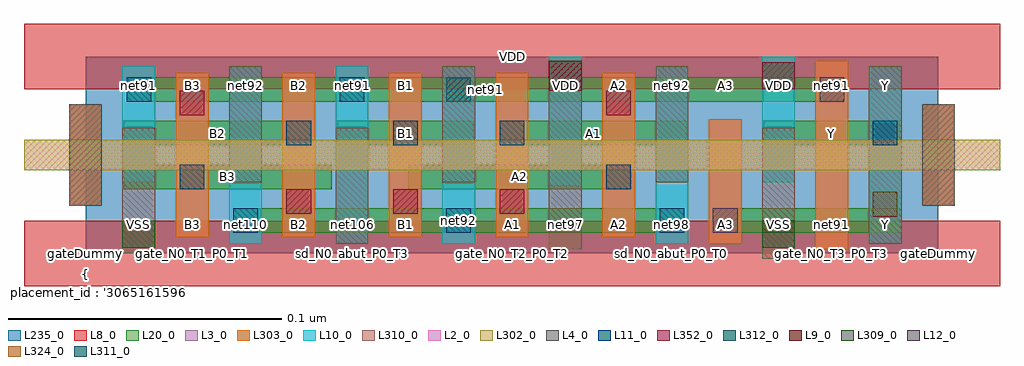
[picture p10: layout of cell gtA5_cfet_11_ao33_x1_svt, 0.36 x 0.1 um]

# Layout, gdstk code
import gdstk
lib = gdstk.Library(unit=1e-6, precision=2.5e-10)
def R(c, l, rs):  # rectangles x0, y0, x1, y1
    for r in rs: c.add(gdstk.rectangle(r[:2], r[2:], *l))
def A(c, l, x, y, w, h, nx, ny, dx, dy):  # array of equal rectangles
    R(c, l, [(x+i*dx, y+j*dy, x+i*dx+w, y+j*dy+h) for i in range(nx) for j in range(ny)])
L2_0 = (2, 0)
L3_0 = (3, 0)
L4_0 = (4, 0)
L8_0 = (8, 0)
L9_0 = (9, 0)
L10_0 = (10, 0)
L11_0 = (11, 0)
L12_0 = (12, 0)
L20_0 = (20, 0)
L235_0 = (235, 0)
L302_0 = (302, 0)
L303_0 = (303, 0)
L309_0 = (309, 0)
L310_0 = (310, 0)
L311_0 = (311, 0)
L312_0 = (312, 0)
L324_0 = (324, 0)
L352_0 = (352, 0)

gta5_cfet_11_ao33_x1_svt = lib.new_cell('gtA5_cfet_11_ao33_x1_svt')
R(gta5_cfet_11_ao33_x1_svt, L2_0, [(-0.0225,0.0305,0.3345,0.0415)])
A(gta5_cfet_11_ao33_x1_svt, L3_0, 0.033, 0.006, 0.012, 0.06, 5, 1, 0.039, 0)
R(gta5_cfet_11_ao33_x1_svt, L3_0, [(0.267,0.0015,0.279,0.0705), (0.228,0.0035,0.24,0.049), (-0.006,0.0175,0.006,0.0545), (0.306,0.0175,0.318,0.0545)])
R(gta5_cfet_11_ao33_x1_svt, L4_0, [(-0.006,0.0175,0.006,0.0545), (0.306,0.0175,0.318,0.0545)])
R(gta5_cfet_11_ao33_x1_svt, L8_0, [(-0.0225,-0.012,0.3345,0.012), (-0.0225,0.06,0.3345,0.084)])
R(gta5_cfet_11_ao33_x1_svt, L9_0, [(0.1695,0.0595,0.1815,0.0705), (0.2475,0.06,0.2595,0.07)])
A(gta5_cfet_11_ao33_x1_svt, L10_0, 0.0525, 0.0035, 0.012, 0.065, 3, 1, 0.039, 0)
R(gta5_cfet_11_ao33_x1_svt, L10_0, [(0.2085,0.0035,0.2205,0.0685), (0.2865,0.0035,0.2985,0.0685), (0.1695,0.0245,0.1815,0.072), (0.0135,0.026,0.0255,0.0685), (0.2475,0.026,0.2595,0.072)])
A(gta5_cfet_11_ao33_x1_svt, L11_0, 0.054, 0.0075, 0.009, 0.009, 3, 1, 0.078, 0)
R(gta5_cfet_11_ao33_x1_svt, L11_0, [(0.288,0.0395,0.297,0.0485), (0.015,0.0555,0.024,0.0645), (0.093,0.0555,0.102,0.0645)])
R(gta5_cfet_11_ao33_x1_svt, L12_0, [(0.2295,0.0075,0.2385,0.0165), (0.2685,0.0555,0.2775,0.0645)])
R(gta5_cfet_11_ao33_x1_svt, L20_0, [(0.054,0.0075,0.219,0.0165), (0.2295,0.0075,0.298,0.0165), (0.014,0.0235,0.09,0.0325), (0.118,0.0235,0.1995,0.0325), (0.014,0.0395,0.0825,0.0485), (0.092,0.0395,0.142,0.0485), (0.1515,0.0395,0.22,0.0485), (0.248,0.0395,0.298,0.0485), (0.015,0.0555,0.2775,0.0645)])
R(gta5_cfet_11_ao33_x1_svt, L235_0, [(0,0,0.312,0.072)])
R(gta5_cfet_11_ao33_x1_svt, L302_0, [(-0.0225,0.0305,0.3345,0.0415)])
A(gta5_cfet_11_ao33_x1_svt, L303_0, 0.033, 0.006, 0.012, 0.06, 5, 1, 0.039, 0)
R(gta5_cfet_11_ao33_x1_svt, L303_0, [(0.267,0.0015,0.279,0.0705), (0.228,0.0035,0.24,0.049), (-0.006,0.0175,0.006,0.0545), (0.306,0.0175,0.318,0.0545)])
R(gta5_cfet_11_ao33_x1_svt, L309_0, [(0.0135,0.002,0.0255,0.012), (0.2475,0.002,0.2595,0.012)])
A(gta5_cfet_11_ao33_x1_svt, L310_0, 0.0525, 0.026, 0.012, 0.0425, 3, 1, 0.078, 0)
R(gta5_cfet_11_ao33_x1_svt, L310_0, [(0.2475,-0.002,0.2595,0.046), (0.0135,0,0.0255,0.046), (0.1695,0.0015,0.1815,0.0705), (0.0915,0.0035,0.1035,0.046), (0.2865,0.0035,0.2985,0.0685)])
R(gta5_cfet_11_ao33_x1_svt, L311_0, [(0.132,0.0555,0.141,0.0645)])
A(gta5_cfet_11_ao33_x1_svt, L312_0, 0.0735, 0.0395, 0.009, 0.009, 3, 1, 0.039, 0)
R(gta5_cfet_11_ao33_x1_svt, L312_0, [(0.0345,0.0235,0.0435,0.0325), (0.1905,0.0235,0.1995,0.0325)])
R(gta5_cfet_11_ao33_x1_svt, L324_0, [(0.288,0.0135,0.297,0.0225)])
A(gta5_cfet_11_ao33_x1_svt, L352_0, 0.0735, 0.0145, 0.009, 0.009, 3, 1, 0.039, 0)
R(gta5_cfet_11_ao33_x1_svt, L352_0, [(0.0345,0.0505,0.0435,0.0595), (0.1905,0.0505,0.1995,0.0595)])
gta5_cfet_11_ao33_x1_svt.add(gdstk.Label('net92', (0.1365,0.012), layer=100, texttype=100))
gta5_cfet_11_ao33_x1_svt.add(gdstk.Label('net91', (0.1462,0.06), layer=100, texttype=100))
gta5_cfet_11_ao33_x1_svt.add(gdstk.Label('gateDummy', (0,0), layer=103, texttype=103))
gta5_cfet_11_ao33_x1_svt.add(gdstk.Label('sd_N0_VSS_P0_T3', (0.0195,0), layer=103, texttype=103))
gta5_cfet_11_ao33_x1_svt.add(gdstk.Label('gate_N0_T1_P0_T1', (0.039,0), layer=103, texttype=103))
gta5_cfet_11_ao33_x1_svt.add(gdstk.Label('sd_N0_abut_P0_T0', (0.0585,0), layer=103, texttype=103))
gta5_cfet_11_ao33_x1_svt.add(gdstk.Label('gate_N0_T2_P0_T2', (0.078,0), layer=103, texttype=103))
gta5_cfet_11_ao33_x1_svt.add(gdstk.Label('sd_N0_abut_P0_T3', (0.0975,0), layer=103, texttype=103))
gta5_cfet_11_ao33_x1_svt.add(gdstk.Label('gate_N0_T2_P0_T2', (0.117,0), layer=103, texttype=103))
gta5_cfet_11_ao33_x1_svt.add(gdstk.Label('sd_N0_T3_P0_T0', (0.1365,0), layer=103, texttype=103))
gta5_cfet_11_ao33_x1_svt.add(gdstk.Label('gate_N0_T2_P0_T2', (0.156,0), layer=103, texttype=103))
gta5_cfet_11_ao33_x1_svt.add(gdstk.Label('sd_P0_VDD', (0.1755,0), layer=103, texttype=103))
gta5_cfet_11_ao33_x1_svt.add(gdstk.Label('gate_N0_T1_P0_T1', (0.195,0), layer=103, texttype=103))
gta5_cfet_11_ao33_x1_svt.add(gdstk.Label('sd_N0_abut_P0_T0', (0.2145,0), layer=103, texttype=103))
gta5_cfet_11_ao33_x1_svt.add(gdstk.Label('gate_N0_T0_P0_T0', (0.234,0), layer=103, texttype=103))
gta5_cfet_11_ao33_x1_svt.add(gdstk.Label('sd_N0_VSS_P0_VDD', (0.2535,0), layer=103, texttype=103))
gta5_cfet_11_ao33_x1_svt.add(gdstk.Label('gate_N0_T3_P0_T3', (0.273,0), layer=103, texttype=103))
gta5_cfet_11_ao33_x1_svt.add(gdstk.Label('sd_N0_T2_P0_T2', (0.2925,0), layer=103, texttype=103))
gta5_cfet_11_ao33_x1_svt.add(gdstk.Label('gateDummy', (0.312,0), layer=103, texttype=103))
gta5_cfet_11_ao33_x1_svt.add(gdstk.Label('}', (0,-0.0785), layer=104, texttype=104))
gta5_cfet_11_ao33_x1_svt.add(gdstk.Label('  power : None', (0,-0.0713), layer=104, texttype=104))
gta5_cfet_11_ao33_x1_svt.add(gdstk.Label('  performance : None', (0,-0.0643), layer=104, texttype=104))
gta5_cfet_11_ao33_x1_svt.add(gdstk.Label("  solution_hash : '9798675518946927685'", (0,-0.057), layer=104, texttype=104))
gta5_cfet_11_ao33_x1_svt.add(gdstk.Label('  number_m2 : 0', (0,-0.05), layer=104, texttype=104))
gta5_cfet_11_ao33_x1_svt.add(gdstk.Label('  number_m1 : 0', (0,-0.0428), layer=104, texttype=104))
gta5_cfet_11_ao33_x1_svt.add(gdstk.Label('  number_m0cuts : 0', (0,-0.0358), layer=104, texttype=104))
gta5_cfet_11_ao33_x1_svt.add(gdstk.Label('  number_m0 : 9', (0,-0.0285), layer=104, texttype=104))
gta5_cfet_11_ao33_x1_svt.add(gdstk.Label("  solution_number : '0000'", (0,-0.0215), layer=104, texttype=104))
gta5_cfet_11_ao33_x1_svt.add(gdstk.Label("  placement_id : '3065161596081306661'", (0,-0.0143), layer=104, texttype=104))
gta5_cfet_11_ao33_x1_svt.add(gdstk.Label('{', (0,-0.0073), layer=104, texttype=104))
gta5_cfet_11_ao33_x1_svt.add(gdstk.Label('VSS', (0.0195,0.0108), layer=105, texttype=105))
gta5_cfet_11_ao33_x1_svt.add(gdstk.Label('B3', (0.039,0.0108), layer=105, texttype=105))
gta5_cfet_11_ao33_x1_svt.add(gdstk.Label('net110', (0.0585,0.0108), layer=105, texttype=105))
gta5_cfet_11_ao33_x1_svt.add(gdstk.Label('B2', (0.078,0.0108), layer=105, texttype=105))
gta5_cfet_11_ao33_x1_svt.add(gdstk.Label('net106', (0.0975,0.0108), layer=105, texttype=105))
gta5_cfet_11_ao33_x1_svt.add(gdstk.Label('B1', (0.117,0.0108), layer=105, texttype=105))
gta5_cfet_11_ao33_x1_svt.add(gdstk.Label('net91', (0.1365,0.0108), layer=105, texttype=105))
gta5_cfet_11_ao33_x1_svt.add(gdstk.Label('A1', (0.156,0.0108), layer=105, texttype=105))
gta5_cfet_11_ao33_x1_svt.add(gdstk.Label('net97', (0.1755,0.0108), layer=105, texttype=105))
gta5_cfet_11_ao33_x1_svt.add(gdstk.Label('A2', (0.195,0.0108), layer=105, texttype=105))
gta5_cfet_11_ao33_x1_svt.add(gdstk.Label('net98', (0.2145,0.0108), layer=105, texttype=105))
gta5_cfet_11_ao33_x1_svt.add(gdstk.Label('A3', (0.234,0.0108), layer=105, texttype=105))
gta5_cfet_11_ao33_x1_svt.add(gdstk.Label('VSS', (0.2535,0.0108), layer=105, texttype=105))
gta5_cfet_11_ao33_x1_svt.add(gdstk.Label('net91', (0.273,0.0108), layer=105, texttype=105))
gta5_cfet_11_ao33_x1_svt.add(gdstk.Label('Y', (0.2925,0.0108), layer=105, texttype=105))
gta5_cfet_11_ao33_x1_svt.add(gdstk.Label('net91', (0.0195,0.0612), layer=105, texttype=105))
gta5_cfet_11_ao33_x1_svt.add(gdstk.Label('B3', (0.039,0.0612), layer=105, texttype=105))
gta5_cfet_11_ao33_x1_svt.add(gdstk.Label('net92', (0.0585,0.0612), layer=105, texttype=105))
gta5_cfet_11_ao33_x1_svt.add(gdstk.Label('B2', (0.078,0.0612), layer=105, texttype=105))
gta5_cfet_11_ao33_x1_svt.add(gdstk.Label('net91', (0.0975,0.0612), layer=105, texttype=105))
gta5_cfet_11_ao33_x1_svt.add(gdstk.Label('B1', (0.117,0.0612), layer=105, texttype=105))
gta5_cfet_11_ao33_x1_svt.add(gdstk.Label('net92', (0.1365,0.0612), layer=105, texttype=105))
gta5_cfet_11_ao33_x1_svt.add(gdstk.Label('A1', (0.156,0.0612), layer=105, texttype=105))
gta5_cfet_11_ao33_x1_svt.add(gdstk.Label('VDD', (0.1755,0.0612), layer=105, texttype=105))
gta5_cfet_11_ao33_x1_svt.add(gdstk.Label('A2', (0.195,0.0612), layer=105, texttype=105))
gta5_cfet_11_ao33_x1_svt.add(gdstk.Label('net92', (0.2145,0.0612), layer=105, texttype=105))
gta5_cfet_11_ao33_x1_svt.add(gdstk.Label('A3', (0.234,0.0612), layer=105, texttype=105))
gta5_cfet_11_ao33_x1_svt.add(gdstk.Label('VDD', (0.2535,0.0612), layer=105, texttype=105))
gta5_cfet_11_ao33_x1_svt.add(gdstk.Label('net91', (0.273,0.0612), layer=105, texttype=105))
gta5_cfet_11_ao33_x1_svt.add(gdstk.Label('Y', (0.2925,0.0612), layer=105, texttype=105))
gta5_cfet_11_ao33_x1_svt.add(gdstk.Label('VSS', (0.156,0), layer=8, texttype=0))
gta5_cfet_11_ao33_x1_svt.add(gdstk.Label('VDD', (0.156,0.072), layer=8, texttype=0))
gta5_cfet_11_ao33_x1_svt.add(gdstk.Label('A3', (0.2637,0.012), layer=20, texttype=251))
gta5_cfet_11_ao33_x1_svt.add(gdstk.Label('B3', (0.052,0.028), layer=20, texttype=251))
gta5_cfet_11_ao33_x1_svt.add(gdstk.Label('A2', (0.1588,0.028), layer=20, texttype=251))
gta5_cfet_11_ao33_x1_svt.add(gdstk.Label('B2', (0.0483,0.044), layer=20, texttype=251))
gta5_cfet_11_ao33_x1_svt.add(gdstk.Label('B1', (0.117,0.044), layer=20, texttype=251))
gta5_cfet_11_ao33_x1_svt.add(gdstk.Label('A1', (0.1857,0.044), layer=20, texttype=251))
gta5_cfet_11_ao33_x1_svt.add(gdstk.Label('Y', (0.273,0.044), layer=20, texttype=251))
gta5_cfet_11_ao33_x1_svt.add(gdstk.Label('gtA5_cfet_11_ao33_x1_rvt_0', (0,0), layer=235, texttype=0))

lib.write_gds('gtA5_cfet_11_ao33_x1_svt.gds')
